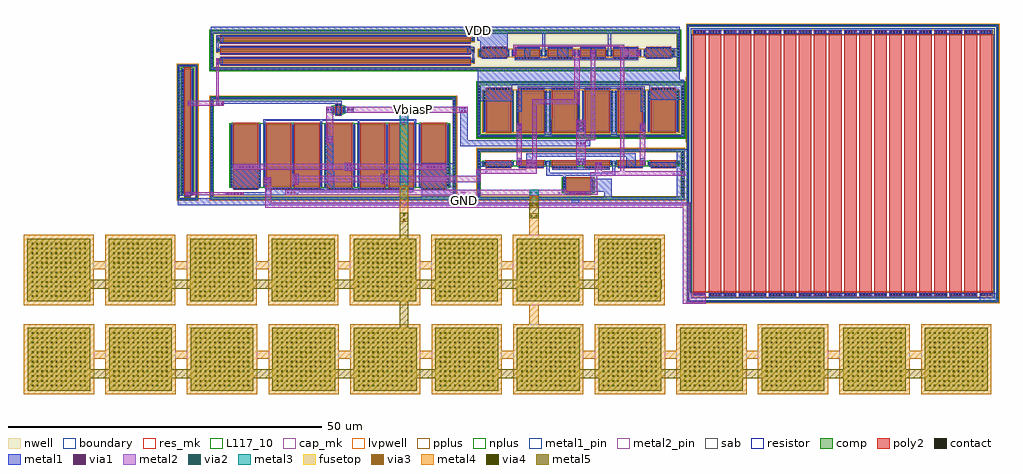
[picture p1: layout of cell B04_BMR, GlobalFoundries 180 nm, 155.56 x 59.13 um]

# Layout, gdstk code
from math import pi, radians
import gdstk
lib = gdstk.Library(unit=1e-6, precision=1e-09)
def R(c, l, rs):  # rectangles x0, y0, x1, y1
    for r in rs: c.add(gdstk.rectangle(r[:2], r[2:], *l))
def A(c, l, x, y, w, h, nx, ny, dx, dy):  # array of equal rectangles
    R(c, l, [(x+i*dx, y+j*dy, x+i*dx+w, y+j*dy+h) for i in range(nx) for j in range(ny)])
boundary = (0, 0)
nwell = (21, 0)
comp = (22, 0)
poly2 = (30, 0)
pplus = (31, 0)
nplus = (32, 0)
contact = (33, 0)
metal1 = (34, 0)
metal1_pin = (34, 10)
via1 = (35, 0)
metal2 = (36, 0)
metal2_pin = (36, 10)
via2 = (38, 0)
via3 = (40, 0)
via4 = (41, 0)
metal3 = (42, 0)
metal4 = (46, 0)
sab = (49, 0)
resistor = (62, 0)
fusetop = (75, 0)
metal5 = (81, 0)
res_mk = (110, 5)
cap_mk = (117, 5)
L117_10 = (117, 10)
lvpwell = (204, 0)

cap_mim = lib.new_cell('cap_mim')
A(cap_mim, via4, 0.69, 0.69, 0.26, 0.26, 12, 12, 0.76, 0.76)
R(cap_mim, metal4, [(-0.6,-0.6,10.6,10.6)])
R(cap_mim, fusetop, [(0,0,10,10)])
R(cap_mim, metal5, [(0,0,10,10)])
R(cap_mim, cap_mk, [(-0.6,-0.6,10.6,10.6)])
R(cap_mim, L117_10, [(0,0,10,0.1)])

via_dev_6 = lib.new_cell('via_dev$6')
R(via_dev_6, via4, [(0.07,0.07,0.33,0.33)])
R(via_dev_6, metal4, [(0,0,0.4,0.4)])
R(via_dev_6, metal5, [(0,0,0.4,0.4)])

via_dev_17 = lib.new_cell('via_dev$17')
R(via_dev_17, metal2, [(0,0,0.4,0.4)])
R(via_dev_17, via2, [(0.07,0.07,0.33,0.33)])
R(via_dev_17, metal3, [(0,0,0.4,0.4)])

via_dev_4 = lib.new_cell('via_dev$4')
R(via_dev_4, via3, [(0.07,0.07,0.33,0.33)])
R(via_dev_4, metal3, [(0,0,0.4,0.4)])
R(via_dev_4, metal4, [(0,0,0.4,0.4)])

nfet_03v3_d2lttm = lib.new_cell('nfet_03v3_D2LTTM')
R(nfet_03v3_d2lttm, comp, [(-4.7,-4.88,4.7,5.12)])
R(nfet_03v3_d2lttm, poly2, [(-4.26,-5.34,-0.26,5.34), (0.26,-5.34,4.26,5.34)])
R(nfet_03v3_d2lttm, nplus, [(-4.49,-5.11,4.49,-5.04), (-4.86,-5.04,4.86,5.28), (-4.49,5.28,4.49,5.35)])
A(nfet_03v3_d2lttm, contact, -4.015, -5.27, 0.22, 0.22, 8, 1, 0.47, 0)
A(nfet_03v3_d2lttm, contact, 0.505, -5.27, 0.22, 0.22, 8, 1, 0.47, 0)
A(nfet_03v3_d2lttm, contact, -4.63, -4.69, 0.22, 0.22, 3, 21, 4.52, 0.47)
A(nfet_03v3_d2lttm, metal1, -4.635, -4.87, 0.23, 9.98, 3, 1, 4.52, 0)
R(nfet_03v3_d2lttm, metal1, [(-4.25,-5.275,-0.27,-5.045), (0.27,-5.275,4.25,-5.045)])
R(nfet_03v3_d2lttm, lvpwell, [(-4.82,-5.46,4.82,5.46)])

nfet_03v3_6zw7h2 = lib.new_cell('nfet_03v3_6ZW7H2')
R(nfet_03v3_6zw7h2, comp, [(-2.44,-4.88,2.44,5.12)])
R(nfet_03v3_6zw7h2, poly2, [(-2,-5.34,2,5.34)])
R(nfet_03v3_6zw7h2, nplus, [(-2.23,-5.11,2.23,-5.04), (-2.6,-5.04,2.6,5.28), (-2.23,5.28,2.23,5.35)])
A(nfet_03v3_6zw7h2, contact, -1.755, -5.27, 0.22, 0.22, 8, 1, 0.47, 0)
A(nfet_03v3_6zw7h2, contact, -2.37, -4.69, 0.22, 0.22, 1, 21, 0, 0.47)
A(nfet_03v3_6zw7h2, contact, 2.15, -4.69, 0.22, 0.22, 1, 21, 0, 0.47)
R(nfet_03v3_6zw7h2, metal1, [(-1.99,-5.275,1.99,-5.045), (-2.375,-4.87,-2.145,5.11), (2.145,-4.87,2.375,5.11)])
R(nfet_03v3_6zw7h2, lvpwell, [(-2.56,-5.46,2.56,5.46)])

nfet_03v3_lt7u5f = lib.new_cell('nfet_03v3_LT7U5F')
R(nfet_03v3_lt7u5f, comp, [(-2.44,-0.155,2.44,0.395)])
R(nfet_03v3_lt7u5f, poly2, [(-2,-0.615,2,0.615)])
R(nfet_03v3_lt7u5f, nplus, [(-2.23,-0.385,2.23,-0.315), (-2.6,-0.315,2.6,0.555), (-2.23,0.555,2.23,0.625)])
A(nfet_03v3_lt7u5f, contact, -1.755, -0.545, 0.22, 0.22, 8, 1, 0.47, 0)
R(nfet_03v3_lt7u5f, contact, [(-2.37,0.01,-2.15,0.23), (2.15,0.01,2.37,0.23)])
R(nfet_03v3_lt7u5f, metal1, [(-1.99,-0.55,1.99,-0.32), (-2.375,-0.145,-2.145,0.385), (2.145,-0.145,2.375,0.385)])
R(nfet_03v3_lt7u5f, lvpwell, [(-2.56,-0.735,2.56,0.735)])

nfet_03v3_lprcze = lib.new_cell('nfet_03v3_LPRCZE')
R(nfet_03v3_lprcze, comp, [(-2.44,-0.98,2.44,1.22)])
R(nfet_03v3_lprcze, poly2, [(-2,-1.44,2,1.44)])
R(nfet_03v3_lprcze, nplus, [(-2.23,-1.21,2.23,-1.14), (-2.6,-1.14,2.6,1.38), (-2.23,1.38,2.23,1.45)])
A(nfet_03v3_lprcze, contact, -1.755, -1.37, 0.22, 0.22, 8, 1, 0.47, 0)
A(nfet_03v3_lprcze, contact, -2.37, -0.695, 0.22, 0.22, 1, 4, 0, 0.47)
A(nfet_03v3_lprcze, contact, 2.15, -0.695, 0.22, 0.22, 1, 4, 0, 0.47)
R(nfet_03v3_lprcze, metal1, [(-1.99,-1.375,1.99,-1.145), (-2.375,-0.97,-2.145,1.21), (2.145,-0.97,2.375,1.21)])
R(nfet_03v3_lprcze, lvpwell, [(-2.56,-1.56,2.56,1.56)])

pfet_03v3_ynzbkp = lib.new_cell('pfet_03v3_YNZBKP')
R(pfet_03v3_ynzbkp, nwell, [(-2.87,-4.02,2.87,4.02)])
R(pfet_03v3_ynzbkp, comp, [(-2.44,-3.37,2.44,3.13)])
R(pfet_03v3_ynzbkp, poly2, [(-2,-3.59,2,3.59)])
R(pfet_03v3_ynzbkp, pplus, [(-2.23,-3.6,2.23,-3.53), (-2.6,-3.53,2.6,3.29), (-2.23,3.29,2.23,3.36)])
A(pfet_03v3_ynzbkp, contact, -2.37, -3.285, 0.22, 0.22, 1, 14, 0, 0.47)
A(pfet_03v3_ynzbkp, contact, 2.15, -3.285, 0.22, 0.22, 1, 14, 0, 0.47)
A(pfet_03v3_ynzbkp, contact, -1.755, 3.3, 0.22, 0.22, 8, 1, 0.47, 0)
R(pfet_03v3_ynzbkp, metal1, [(-2.375,-3.36,-2.145,3.12), (2.145,-3.36,2.375,3.12), (-1.99,3.295,1.99,3.525)])

b04_diff_amp = lib.new_cell('B04_diff_amp')
R(b04_diff_amp, nwell, [(-7.8,-5.85,25.6,3.3)])
R(b04_diff_amp, comp, [(-7.65,-15.6,25.4,-15.1), (-7.65,-15.1,-7.1,-8), (24.85,-15.1,25.4,-8), (-7.65,-8,25.4,-7.5), (-7.65,-5.7,25.45,-5.2), (-7.65,-5.2,-7.1,2.65), (24.9,-5.2,25.45,2.65), (-7.65,2.65,25.45,3.15)])
A(b04_diff_amp, pplus, -1.63, -4.91, 0.05, 6.82, 5, 1, 5.25, 0)
R(b04_diff_amp, pplus, [(-7.67,-15.62,25.42,-15.08), (-7.67,-15.08,-7.08,-8.02), (24.83,-15.08,25.42,-8.02), (-7.67,-8.02,25.42,-7.48)])
A(b04_diff_amp, nplus, -1.64, -10.28, 0.05, 0.87, 5, 1, 5.25, 0)
R(b04_diff_amp, nplus, [(-7.81,-5.86,25.61,-5.18), (-7.81,-5.18,-7.08,2.63), (24.88,-5.18,25.61,2.63), (-7.81,2.63,25.61,3.31)])
A(b04_diff_amp, contact, -7.485, -15.185, 0.22, 0.22, 1, 16, 0, 0.47)
A(b04_diff_amp, contact, 25.015, -15.185, 0.22, 0.22, 1, 16, 0, 0.47)
A(b04_diff_amp, contact, -7.485, -5.145, 0.22, 0.22, 1, 17, 0, 0.47)
A(b04_diff_amp, contact, 25.065, -5.145, 0.22, 0.22, 1, 17, 0, 0.47)
R(b04_diff_amp, metal1, [(-7.55,-16.2,25.3,-15.2), (-7.55,-15.2,-7.2,-10.35), (12.6,-15.2,13.8,-14.35), (24.95,-15.2,25.3,-10.35), (7,-14.8,9.8,-14.25), (10.8,-14.35,13.8,-12.3), (6.1,-14,6.5,-11.8), (3.35,-11.8,14.4,-11.3), (3.35,-11.3,3.9,-10.05), (13.9,-11.3,14.4,-10.4), (4.3,-10.8,13.5,-10.45), (16.15,-10.45,17.65,-8.75), (0.15,-10.4,1.85,-8.75), (13.85,-10.4,14.45,-10.1), (-7.55,-10.35,-2.05,-9.55), (11.15,-10.35,12.25,-9.6), (19.85,-10.35,25.3,-9.6), (13.65,-10.1,14.6,-9.4), (-1.35,-10.05,-0.5,-9), (3.15,-10.05,4.1,-9.45), (18.3,-10.05,19.15,-9), (8.15,-10,9.65,-9.05), (24.95,-9.6,25.3,-7.9), (-7.55,-9.55,-7.2,-7.9), (0.15,-8.75,17.65,-8.2), (-7.55,-7.9,25.3,-7.6), (8.15,-7.05,10.35,-6.15), (-7.55,-5.6,25.35,-5.3), (-7.55,-5.3,-7.2,0.05), (3.15,-5.3,4.15,-2.85), (13.7,-5.3,14.6,-2.9), (25,-5.3,25.35,0.3), (8.15,-4.75,9.65,-2.85), (-1.25,-4.6,-0.5,-3.45), (18.35,-4.6,19.1,-3.45), (13.75,-2.9,14.55,1.6), (3.25,-2.85,4.05,1.6), (-1.2,-1.55,-0.5,2.1), (18.4,-1.55,19.1,2.1), (-7.55,0.05,-2.05,2.75), (19.8,0.3,25.35,2.75), (-1.2,2.1,19.1,2.45), (-7.55,2.75,25.35,3.55)])
R(b04_diff_amp, metal1_pin, [(7.45,-16.1,8.55,-15.6), (9.55,-7.05,10.35,-6.15), (8.5,3,9.35,3.2)])
A(b04_diff_amp, via1, 7.23, -14.68, 0.26, 0.26, 5, 1, 0.52, 0)
A(b04_diff_amp, via1, 0.375, -9.855, 0.26, 0.26, 3, 1, 0.52, 0)
A(b04_diff_amp, via1, 8.25, -9.655, 0.26, 0.26, 3, 2, 0.52, 2.925)
A(b04_diff_amp, via1, 8.25, -4.45, 0.26, 0.26, 3, 3, 0.52, 0.52)
R(b04_diff_amp, via1, [(11.31,-10.08,11.57,-9.82), (11.83,-10.08,12.09,-9.82), (-1.055,-9.655,-0.795,-9.395), (18.595,-9.655,18.855,-9.395), (-0.98,-4.415,-0.72,-4.155), (18.62,-4.415,18.88,-4.155), (-0.98,-3.895,-0.72,-3.635), (18.62,-3.895,18.88,-3.635)])
R(b04_diff_amp, metal2, [(4.8,-14.8,9.8,-14.25), (11.15,-11.8,25.5,-11.1), (-7.75,-11.45,1.85,-10.75), (11.15,-11.1,12.25,-9.6), (0.15,-10.75,1.85,-9.25), (-1.35,-10.05,-0.5,-3.45), (18.3,-10.05,19.15,-3.45), (8.15,-10,9.65,-2.85)])
R(b04_diff_amp, metal2_pin, [(5.3,-14.65,5.5,-14.45), (23.55,-11.6,23.95,-11.4), (-6.35,-11.2,-5.95,-11)])
R(b04_diff_amp, lvpwell, [(-7.8,-15.8,25.55,-7.35)])
b04_diff_amp.add(gdstk.Reference(nfet_03v3_lt7u5f, (-4.24,-9.965)))
b04_diff_amp.add(gdstk.Reference(nfet_03v3_lt7u5f, (1.01,-9.965)))
b04_diff_amp.add(gdstk.Reference(nfet_03v3_lprcze, (8.46,-13.44)))
b04_diff_amp.add(gdstk.Reference(nfet_03v3_lt7u5f, (6.26,-9.965)))
b04_diff_amp.add(gdstk.Reference(nfet_03v3_lt7u5f, (16.76,-9.965)))
b04_diff_amp.add(gdstk.Reference(nfet_03v3_lt7u5f, (11.51,-9.965)))
b04_diff_amp.add(gdstk.Reference(nfet_03v3_lt7u5f, (22.01,-9.965)))
b04_diff_amp.add(gdstk.Reference(pfet_03v3_ynzbkp, (-4.23,-1.38)))
b04_diff_amp.add(gdstk.Reference(pfet_03v3_ynzbkp, (1.02,-1.38)))
b04_diff_amp.add(gdstk.Reference(pfet_03v3_ynzbkp, (6.27,-1.38)))
b04_diff_amp.add(gdstk.Reference(pfet_03v3_ynzbkp, (11.52,-1.38)))
b04_diff_amp.add(gdstk.Reference(pfet_03v3_ynzbkp, (16.77,-1.38)))
b04_diff_amp.add(gdstk.Reference(pfet_03v3_ynzbkp, (22.02,-1.38)))
b04_diff_amp.add(gdstk.Label('VDD', (8.925,3.1), layer=34, texttype=10))
b04_diff_amp.add(gdstk.Label('GND', (8,-15.85), layer=34, texttype=10))
b04_diff_amp.add(gdstk.Label('Vo', (9.95,-6.6), layer=34, texttype=10))
b04_diff_amp.add(gdstk.Label('Vbias', (5.4,-14.55), layer=36, texttype=10))
b04_diff_amp.add(gdstk.Label('V+', (-6.15,-11.1), layer=36, texttype=10))
b04_diff_amp.add(gdstk.Label('V-', (23.75,-11.5), layer=36, texttype=10))

pfet_03v3_j76tdp = lib.new_cell('pfet_03v3_J76TDP')
R(pfet_03v3_j76tdp, nwell, [(-2.87,-1.39,2.87,1.39)])
R(pfet_03v3_j76tdp, comp, [(-2.44,-0.5,2.44,0.5)])
R(pfet_03v3_j76tdp, poly2, [(-2,-0.96,2,0.96)])
R(pfet_03v3_j76tdp, pplus, [(-2.23,-0.73,2.23,-0.66), (-2.6,-0.66,2.6,0.66), (-2.23,0.66,2.23,0.73)])
A(pfet_03v3_j76tdp, contact, -1.755, -0.89, 0.22, 0.22, 8, 2, 0.47, 1.56)
R(pfet_03v3_j76tdp, contact, [(-2.37,-0.345,-2.15,-0.125), (2.15,-0.345,2.37,-0.125), (-2.37,0.125,-2.15,0.345), (2.15,0.125,2.37,0.345)])
R(pfet_03v3_j76tdp, metal1, [(-1.99,-0.895,1.99,-0.665), (-2.375,-0.49,-2.145,0.49), (2.145,-0.49,2.375,0.49), (-1.99,0.665,1.99,0.895)])

pfet_03v3_lepl4x = lib.new_cell('pfet_03v3_LEPL4X')
R(pfet_03v3_lepl4x, nwell, [(-20.87,-1.14,20.87,1.14)])
R(pfet_03v3_lepl4x, comp, [(-20.44,-0.25,20.44,0.25)])
R(pfet_03v3_lepl4x, poly2, [(-20,-0.71,20,0.71)])
R(pfet_03v3_lepl4x, pplus, [(-20.23,-0.48,20.23,-0.41), (-20.6,-0.41,20.6,0.41), (-20.23,0.41,20.23,0.48)])
A(pfet_03v3_lepl4x, contact, -19.85, -0.64, 0.22, 0.22, 85, 2, 0.47, 1.06)
R(pfet_03v3_lepl4x, contact, [(-20.37,-0.11,-20.15,0.11), (20.15,-0.11,20.37,0.11)])
R(pfet_03v3_lepl4x, metal1, [(-19.99,-0.645,19.99,-0.415), (-20.375,-0.24,-20.145,0.24), (20.145,-0.24,20.375,0.24), (-19.99,0.415,19.99,0.645)])

nfet_03v3_v3bjrc = lib.new_cell('nfet_03v3_V3BJRC')
R(nfet_03v3_v3bjrc, comp, [(-0.94,-0.5,0.94,0.5)])
R(nfet_03v3_v3bjrc, poly2, [(-0.5,-0.96,0.5,0.96)])
R(nfet_03v3_v3bjrc, nplus, [(-0.73,-0.73,0.73,-0.66), (-1.1,-0.66,1.1,0.66), (-0.73,0.66,0.73,0.73)])
R(nfet_03v3_v3bjrc, contact, [(-0.345,-0.89,-0.125,-0.67), (0.125,-0.89,0.345,-0.67), (-0.87,-0.345,-0.65,-0.125), (0.65,-0.345,0.87,-0.125), (-0.87,0.125,-0.65,0.345), (0.65,0.125,0.87,0.345), (-0.345,0.67,-0.125,0.89), (0.125,0.67,0.345,0.89)])
R(nfet_03v3_v3bjrc, metal1, [(-0.49,-0.895,0.49,-0.665), (-0.875,-0.49,-0.645,0.49), (0.645,-0.49,0.875,0.49), (-0.49,0.665,0.49,0.895)])
R(nfet_03v3_v3bjrc, lvpwell, [(-1.06,-1.08,1.06,1.08)])

ppolyf_u_1k_2q22ha = lib.new_cell('ppolyf_u_1k_2Q22HA')
R(ppolyf_u_1k_2q22ha, boundary, [(-24.68,-21.99,24.68,21.99)])
R(ppolyf_u_1k_2q22ha, comp, [(-24.86,-22.17,24.86,-21.81), (-24.86,-21.81,-24.5,21.81), (24.5,-21.81,24.86,21.81), (-24.86,21.81,24.86,22.17)])
A(ppolyf_u_1k_2q22ha, poly2, -23.8, -21.11, 2, 42.22, 20, 1, 2.4, 0)
R(ppolyf_u_1k_2q22ha, pplus, [(-24.88,-22.19,24.88,-21.79), (-24.88,-21.79,-24.47,-21.685), (24.47,-21.79,24.88,-21.685), (-24.89,-21.685,-24.47,21.685), (24.47,-21.685,24.89,21.685), (-24,-21.31,24,-20.5), (-24,20.5,24,21.31), (-24.88,21.685,-24.47,21.79), (24.47,21.685,24.88,21.79), (-24.88,21.79,24.88,22.19)])
A(ppolyf_u_1k_2q22ha, contact, -24.79, -21.495, 0.22, 0.22, 1, 92, 0, 0.47)
A(ppolyf_u_1k_2q22ha, contact, 24.57, -21.495, 0.22, 0.22, 1, 92, 0, 0.47)
A(ppolyf_u_1k_2q22ha, contact, -23.615, -21.04, 0.22, 0.22, 4, 2, 0.47, 41.86)
A(ppolyf_u_1k_2q22ha, contact, -21.215, -21.04, 0.22, 0.22, 4, 2, 0.47, 41.86)
A(ppolyf_u_1k_2q22ha, contact, -18.815, -21.04, 0.22, 0.22, 4, 2, 0.47, 41.86)
A(ppolyf_u_1k_2q22ha, contact, -16.415, -21.04, 0.22, 0.22, 4, 2, 0.47, 41.86)
A(ppolyf_u_1k_2q22ha, contact, -14.015, -21.04, 0.22, 0.22, 4, 2, 0.47, 41.86)
A(ppolyf_u_1k_2q22ha, contact, -11.615, -21.04, 0.22, 0.22, 4, 2, 0.47, 41.86)
A(ppolyf_u_1k_2q22ha, contact, -9.215, -21.04, 0.22, 0.22, 4, 2, 0.47, 41.86)
A(ppolyf_u_1k_2q22ha, contact, -6.815, -21.04, 0.22, 0.22, 4, 2, 0.47, 41.86)
A(ppolyf_u_1k_2q22ha, contact, -4.415, -21.04, 0.22, 0.22, 4, 2, 0.47, 41.86)
A(ppolyf_u_1k_2q22ha, contact, -2.015, -21.04, 0.22, 0.22, 4, 2, 0.47, 41.86)
A(ppolyf_u_1k_2q22ha, contact, 0.385, -21.04, 0.22, 0.22, 4, 2, 0.47, 41.86)
A(ppolyf_u_1k_2q22ha, contact, 2.785, -21.04, 0.22, 0.22, 4, 2, 0.47, 41.86)
A(ppolyf_u_1k_2q22ha, contact, 5.185, -21.04, 0.22, 0.22, 4, 2, 0.47, 41.86)
A(ppolyf_u_1k_2q22ha, contact, 7.585, -21.04, 0.22, 0.22, 4, 2, 0.47, 41.86)
A(ppolyf_u_1k_2q22ha, contact, 9.985, -21.04, 0.22, 0.22, 4, 2, 0.47, 41.86)
A(ppolyf_u_1k_2q22ha, contact, 12.385, -21.04, 0.22, 0.22, 4, 2, 0.47, 41.86)
A(ppolyf_u_1k_2q22ha, contact, 14.785, -21.04, 0.22, 0.22, 4, 2, 0.47, 41.86)
A(ppolyf_u_1k_2q22ha, contact, 17.185, -21.04, 0.22, 0.22, 4, 2, 0.47, 41.86)
A(ppolyf_u_1k_2q22ha, contact, 19.585, -21.04, 0.22, 0.22, 4, 2, 0.47, 41.86)
A(ppolyf_u_1k_2q22ha, contact, 21.985, -21.04, 0.22, 0.22, 4, 2, 0.47, 41.86)
A(ppolyf_u_1k_2q22ha, metal1, -23.79, -21.045, 1.98, 0.23, 20, 2, 2.4, 41.86)
R(ppolyf_u_1k_2q22ha, metal1, [(-24.795,-22.105,24.795,-21.875), (-24.795,-21.875,-24.565,21.875), (24.565,-21.875,24.795,21.875), (-24.795,21.875,24.795,22.105)])
R(ppolyf_u_1k_2q22ha, sab, [(-24.08,-20.6,24.08,20.6), (-24.08,-20.5,24.08,20.5)])
R(ppolyf_u_1k_2q22ha, resistor, [(-24.2,-21.51,24.2,21.51)])
A(ppolyf_u_1k_2q22ha, res_mk, -23.8, -20.5, 2, 41, 20, 1, 2.4, 0)
R(ppolyf_u_1k_2q22ha, res_mk, [(-24.08,-20.5,24.08,20.5)])
R(ppolyf_u_1k_2q22ha, lvpwell, [(-24.98,-22.29,24.98,22.29)])

nfet_03v3_qhjde5 = lib.new_cell('nfet_03v3_QHJDE5')
R(nfet_03v3_qhjde5, boundary, [(-1.45,-10.63,1.45,10.63)])
R(nfet_03v3_qhjde5, comp, [(-1.63,-10.81,1.63,-10.45), (-1.63,-10.45,-1.27,10.45), (1.27,-10.45,1.63,10.45), (-0.94,-9.88,0.94,10.12), (-1.63,10.45,1.63,10.81)])
R(nfet_03v3_qhjde5, poly2, [(-0.5,-10.34,0.5,10.34)])
R(nfet_03v3_qhjde5, pplus, [(-1.65,-10.83,1.65,-10.43), (-1.65,-10.43,-1.24,-10.325), (1.24,-10.43,1.65,-10.325), (-1.66,-10.325,-1.24,10.325), (1.24,-10.325,1.66,10.325), (-1.65,10.325,-1.24,10.43), (1.24,10.325,1.65,10.43), (-1.65,10.43,1.65,10.83)])
R(nfet_03v3_qhjde5, nplus, [(-0.73,-10.11,0.73,-10.04), (-1.1,-10.04,1.1,10.28), (-0.73,10.28,0.73,10.35)])
A(nfet_03v3_qhjde5, contact, -1.56, -10.215, 0.22, 0.22, 1, 44, 0, 0.47)
A(nfet_03v3_qhjde5, contact, 1.34, -10.215, 0.22, 0.22, 1, 44, 0, 0.47)
A(nfet_03v3_qhjde5, contact, -0.87, -9.625, 0.22, 0.22, 1, 42, 0, 0.47)
A(nfet_03v3_qhjde5, contact, 0.65, -9.625, 0.22, 0.22, 1, 42, 0, 0.47)
R(nfet_03v3_qhjde5, contact, [(-0.345,-10.27,-0.125,-10.05), (0.125,-10.27,0.345,-10.05)])
R(nfet_03v3_qhjde5, metal1, [(-1.565,-10.745,1.565,-10.515), (-1.565,-10.515,-1.335,10.515), (1.335,-10.515,1.565,10.515), (-0.49,-10.275,0.49,-10.045), (-0.875,-9.87,-0.645,10.11), (0.645,-9.87,0.875,10.11), (-1.565,10.515,1.565,10.745)])
R(nfet_03v3_qhjde5, lvpwell, [(-1.75,-10.93,1.75,10.93)])

b04_bmr = lib.new_cell('B04_BMR')
R(b04_bmr, nwell, [(-78.25,45.2,-3,51.85)])
R(b04_bmr, comp, [(-78.1,24.75,-38.9,25.25), (-78.1,25.25,-77.55,40.7), (-39.45,25.25,-38.9,40.7), (-78.1,40.7,-38.9,41.2), (-78.1,45.35,-3.15,45.85), (-78.1,45.85,-77.55,51.2), (-3.7,45.85,-3.15,51.2), (-78.1,51.2,-3.15,51.7)])
A(b04_bmr, pplus, -30.23, 47.48, 0.05, 1.32, 5, 1, 5.25, 0)
R(b04_bmr, pplus, [(-78.12,24.73,-38.88,25.27), (-2.48,24.73,-2.16,32.87), (-78.12,25.27,-77.53,40.68), (-39.47,25.27,-38.88,40.68), (-2.29,33.91,-2.16,44.24), (-1.74,33.91,-1.71,44.24), (-78.12,40.68,-38.88,41.22)])
R(b04_bmr, nplus, [(-69.84,26.62,-69.79,36.94), (-60.07,26.62,-60.04,36.94), (-54.84,26.62,-54.79,36.94), (-45.07,26.62,-45.04,36.94), (-78.26,45.19,-2.99,45.87), (-78.26,45.87,-77.53,51.18), (-3.72,45.87,-2.99,51.18), (-78.26,51.18,-2.99,51.86)])
A(b04_bmr, contact, -77.935, 25.345, 0.22, 0.22, 1, 33, 0, 0.47)
A(b04_bmr, contact, -39.285, 25.345, 0.22, 0.22, 1, 33, 0, 0.47)
A(b04_bmr, contact, -77.935, 45.83, 0.22, 0.22, 1, 12, 0, 0.47)
A(b04_bmr, contact, -3.535, 45.83, 0.22, 0.22, 1, 12, 0, 0.47)
A(b04_bmr, metal1, 1.35, 9.25, 4.4, 0.6, 9, 1, 4.8, 0)
A(b04_bmr, metal1, -1.05, 51.2, 4.4, 0.6, 10, 1, 4.8, 0)
R(b04_bmr, metal1, [(44.5,8.45,46.55,8.5), (44.55,8.6,47.45,9.85), (-1.05,9.45,0.9,9.95), (-83.25,23.85,-1.85,24.95), (-78.05,24.95,-1.85,25), (-78,25,-34.4,25.15), (-3.7,25,-1.9,29.8), (-78,25.15,-77.65,40.8), (-44.4,25.15,-39,26.6), (-82.1,25.2,-81.3,26), (-83.2,25.4,-82.5,45.3), (-75.65,25.45,-64.05,25.95), (-69.15,25.95,-45.7,26.5), (-59.8,26.5,-58.35,29.25), (-74.65,26.55,-70.25,29.05), (-44.65,26.6,-39,29.1), (-69.4,27.15,-68.4,28.3), (-65.05,27.15,-63.95,28.85), (-50.9,27.2,-49.8,28.9), (-74.65,29.05,-70.15,30.5), (-44.7,29.1,-39,30.55), (-59.7,29.25,-59.65,35), (-59.6,29.25,-58.5,34.9), (-56.65,29.35,-55.1,30.65), (-3.95,29.8,-1.9,30), (-3.7,30,-1.9,32.75), (-39.35,30.55,-39,40.8), (-38.25,33.3,-19.3,34.2), (-38.25,34.2,-37.05,38.6), (-69.6,36.7,-69.3,37.3), (-60.55,36.7,-60.25,37.3), (-54.6,36.7,-54.3,37.3), (-45.55,36.7,-45.25,37.3), (-69.6,37.3,-45.25,37.6), (-57.95,38.25,-57.3,38.35), (-58,38.35,-57.25,39.75), (-59.6,38.6,-58.5,39.6), (-56.8,38.6,-55.25,39.6), (-38.4,38.6,-37.05,39.6), (-81.7,39.7,-80.9,40.5), (-77.15,39.7,-75.95,40.05), (-57.95,39.75,-57.3,39.85), (-58.1,39.9,-57.15,39.95), (-58.15,39.95,-57.15,40.05), (-77.15,40.05,-57.15,40.5), (-78,40.8,-39,41.1), (-35.45,43.65,-22.7,43.85), (-21.7,43.65,-3,43.9), (-35.45,43.85,-21.8,43.9), (-35.45,43.9,-3.25,45.45), (-78,45.45,-3.25,45.75), (-78,45.75,-77.65,51.3), (-3.6,45.75,-3.25,47.45), (-77.15,46.25,-76.75,46.35), (-77.15,46.35,-76.1,47.25), (-36.3,46.55,-36,48), (-29.55,46.95,-9.85,47.3), (-77.15,47.25,-76.75,47.3), (-28.05,47.3,-27.05,48.9), (-22.75,47.3,-21.75,47.35), (-22.8,47.35,-21.05,48.95), (-17.55,47.35,-16.55,48.95), (-12.4,47.35,-11.4,48.95), (-35.05,47.45,-30.65,50.05), (-8.75,47.45,-3.25,48.85), (-25.3,47.7,-24.6,48.65), (-14.8,47.7,-14.1,48.65), (-20.35,47.75,-18.95,48.55), (-29.75,47.8,-29.25,48.5), (-10.15,47.8,-9.65,48.5), (-37.1,48,-36,49.15), (-77.1,48.3,-76.75,49.65), (-25.2,48.65,-24.7,51.3), (-14.7,48.65,-14.2,51.3), (-3.6,48.85,-3.25,51.3), (-77.1,49.65,-76.05,50.95), (-36.2,50.05,-35.95,51.3), (-35.55,50.05,-30.65,51.3), (-78,51.3,-3.25,52.3)])
R(b04_bmr, metal1_pin, [(-37.8,24.45,-37.3,24.7), (-35.8,51.45,-34.75,52)])
A(b04_bmr, via1, -0.725, 9.57, 0.26, 0.26, 3, 1, 0.52, 0)
A(b04_bmr, via1, -75.37, 25.57, 0.26, 0.26, 5, 1, 0.52, 0)
A(b04_bmr, via1, -65.8, 25.745, 0.26, 0.26, 3, 1, 0.52, 0)
A(b04_bmr, via1, -64.53, 27.35, 0.26, 0.26, 1, 3, 0, 0.52)
A(b04_bmr, via1, -50.58, 27.4, 0.26, 0.26, 1, 3, 0, 0.52)
A(b04_bmr, via1, -73.495, 29.845, 0.26, 0.26, 5, 1, 0.52, 0)
A(b04_bmr, via1, -43.545, 29.845, 0.26, 0.26, 5, 1, 0.52, 0)
R(b04_bmr, via1, [(-81.83,25.595,-81.57,25.855), (-69.29,27.335,-69.03,27.595), (-68.77,27.335,-68.51,27.595), (-69.29,27.855,-69.03,28.115), (-68.77,27.855,-68.51,28.115), (-56.34,29.61,-56.08,29.87), (-55.82,29.61,-55.56,29.87), (-56.34,30.13,-56.08,30.39), (-55.82,30.13,-55.56,30.39), (-59.39,34.245,-59.13,34.505), (-58.87,34.245,-58.61,34.505), (-38.115,38.71,-37.855,38.97), (-37.595,38.71,-37.335,38.97), (-59.49,38.995,-59.23,39.255), (-58.97,38.995,-58.71,39.255), (-56.14,38.995,-55.88,39.255), (-55.62,38.995,-55.36,39.255), (-38.115,39.23,-37.855,39.49), (-37.595,39.23,-37.335,39.49), (-76.89,39.92,-76.63,40.18), (-76.37,39.92,-76.11,40.18), (-81.48,39.97,-81.22,40.23), (-77.08,46.385,-76.82,46.645), (-77.08,46.905,-76.82,47.165), (-17.18,47.995,-16.92,48.255), (-29.655,48.02,-29.395,48.28), (-20.04,48.02,-19.78,48.28), (-19.52,48.02,-19.26,48.28), (-10.005,48.02,-9.745,48.28)])
R(b04_bmr, metal2, [(-2.75,8.15,-1.55,8.2), (-2.75,8.2,0.9,9.95), (-2.75,9.95,-1.55,23.45), (-69.35,23.45,-1.55,24.25), (-69.35,24.25,-68.4,27.15), (-82.1,25.4,-81.3,25.45), (-82.1,25.45,-72.75,25.95), (-66.15,25.45,-21.3,26.3), (-18.5,25.55,-16.35,26.1), (-82.1,25.95,-81.3,26), (-17.5,26.1,-16.4,29.15), (-69.55,27.15,-68.4,28.3), (-65.05,27.15,-63.95,27.55), (-50.9,27.2,-49.8,27.55), (-65.05,27.55,-34.95,28.6), (-12.7,28.55,-12.1,47.65), (-65.05,28.6,-63.95,28.85), (-50.9,28.6,-49.8,28.9), (-35.65,28.6,-34.95,29.55), (-56.65,29.35,-55.1,29.5), (-74.4,29.5,-40.45,30.45), (-56.65,30.45,-55.1,30.65), (-26.75,30.8,-26.05,40), (-59.6,33.85,-58.5,39.6), (-19.75,34.25,-16.7,35.1), (-17.4,35.1,-16.7,48.6), (-47.85,37.05,-46.55,39.6), (-56.25,38.6,-37.05,39.6), (-81.7,39.7,-75.95,40.5), (-26.75,40,-19.2,40.75), (-77.15,40.5,-76.75,47.3), (-20.05,40.75,-19.2,47.75), (-12.7,47.65,-9.65,48.65), (-20.35,47.75,-18.95,48.55), (-29.8,47.8,-29.25,49.1), (-12.7,48.65,-12.1,49.1), (-29.8,49.1,-12.1,49.45)])
R(b04_bmr, metal2_pin, [(-38.15,25.75,-37.4,26), (-46.1,38.75,-45.15,39.45)])
R(b04_bmr, metal3, [(-27.2,24.55,-25.75,26.3), (-47.85,24.9,-46.55,39.6)])
A(b04_bmr, metal4, -96.65, -0.6, 1.95, 1.25, 11, 1, 13, 0)
A(b04_bmr, metal4, -96.65, 13.7, 1.95, 1.25, 7, 1, 13, 0)
R(b04_bmr, metal4, [(-27.25,4.8,-25.75,8.05), (-27.25,19.15,-25.75,22.6), (-47.85,21.25,-46.55,26.95), (-27.2,23.45,-25.8,25.35)])
R(b04_bmr, metal5, [(-107.2,-3.7,45.8,-2.25), (-47.85,-3.7,-46.5,22.7), (-107.2,10.55,-6.1,12), (-27.25,21.8,-25.75,24.3)])
R(b04_bmr, lvpwell, [(-2.75,8.15,-1.55,24.3), (-78.25,24.6,-38.75,41.35)])
r = gdstk.Reference(cap_mim, (-107.2,-5.7)); r.repetition = gdstk.Repetition(12, 1, v1=(13,0), v2=(0,0)); b04_bmr.add(r)
r = gdstk.Reference(cap_mim, (-107.25,8.55)); r.repetition = gdstk.Repetition(8, 1, v1=(13,0), v2=(0,0)); b04_bmr.add(r)
r = gdstk.Reference(via_dev_6, (-47.4,21.35)); r.repetition = gdstk.Repetition(1, 2, v1=(0,0), v2=(0,0.8)); b04_bmr.add(r)
r = gdstk.Reference(via_dev_17, (-47.45,37.35)); r.repetition = gdstk.Repetition(1, 3, v1=(0,0), v2=(0,0.8)); b04_bmr.add(r)
r = gdstk.Reference(via_dev_4, (-47.4,25.35)); r.repetition = gdstk.Repetition(1, 2, v1=(0,0), v2=(0,0.8)); b04_bmr.add(r)
r = gdstk.Reference(via_dev_6, (-25.9,21.95), rotation=pi/2); r.repetition = gdstk.Repetition(1, 2, v1=(0,0), v2=(-0.8,0)); b04_bmr.add(r)
r = gdstk.Reference(via_dev_17, (-27.1,25.7)); r.repetition = gdstk.Repetition(2, 1, v1=(0.8,0), v2=(0,0)); b04_bmr.add(r)
r = gdstk.Reference(via_dev_4, (-25.9,24.85), rotation=pi/2); r.repetition = gdstk.Repetition(1, 2, v1=(0,0), v2=(-0.8,0)); b04_bmr.add(r)
r = gdstk.Reference(via_dev_6, (-25.9,23.7), rotation=pi/2); r.repetition = gdstk.Repetition(1, 2, v1=(0,0), v2=(-0.8,0)); b04_bmr.add(r)
b04_bmr.add(gdstk.Reference(nfet_03v3_d2lttm, (-49.93,31.66)))
b04_bmr.add(gdstk.Reference(nfet_03v3_d2lttm, (-64.93,31.66)))
b04_bmr.add(gdstk.Reference(nfet_03v3_6zw7h2, (-57.44,31.66)))
b04_bmr.add(gdstk.Reference(nfet_03v3_6zw7h2, (-72.44,31.66)))
b04_bmr.add(gdstk.Reference(nfet_03v3_6zw7h2, (-42.44,31.66)))
b04_bmr.add(gdstk.Reference(b04_diff_amp, (-27.9,40.35)))
b04_bmr.add(gdstk.Reference(pfet_03v3_j76tdp, (-32.83,48.14)))
b04_bmr.add(gdstk.Reference(pfet_03v3_j76tdp, (-27.58,48.14)))
b04_bmr.add(gdstk.Reference(pfet_03v3_lepl4x, (-56.53,46.79)))
b04_bmr.add(gdstk.Reference(pfet_03v3_lepl4x, (-56.53,48.54)))
b04_bmr.add(gdstk.Reference(nfet_03v3_v3bjrc, (-57.64,39.08)))
b04_bmr.add(gdstk.Reference(pfet_03v3_lepl4x, (-56.53,50.29)))
b04_bmr.add(gdstk.Reference(pfet_03v3_j76tdp, (-6.58,48.14)))
b04_bmr.add(gdstk.Reference(pfet_03v3_j76tdp, (-11.83,48.14)))
b04_bmr.add(gdstk.Reference(pfet_03v3_j76tdp, (-22.33,48.14)))
b04_bmr.add(gdstk.Reference(pfet_03v3_j76tdp, (-17.08,48.14)))
b04_bmr.add(gdstk.Reference(ppolyf_u_1k_2q22ha, (22.73,30.54)))
b04_bmr.add(gdstk.Reference(nfet_03v3_qhjde5, (-81.7,35.48)))
b04_bmr.add(gdstk.Label('VDD', (-35.275,51.725), layer=34, texttype=10))
b04_bmr.add(gdstk.Label('GND', (-37.55,24.575), layer=34, texttype=10))
b04_bmr.add(gdstk.Label('VbiasP', (-45.625,39.1), layer=36, texttype=10))
b04_bmr.add(gdstk.Label('VbiasN', (-37.775,25.875), layer=36, texttype=10))

lib.write_gds('B04_BMR.gds')
